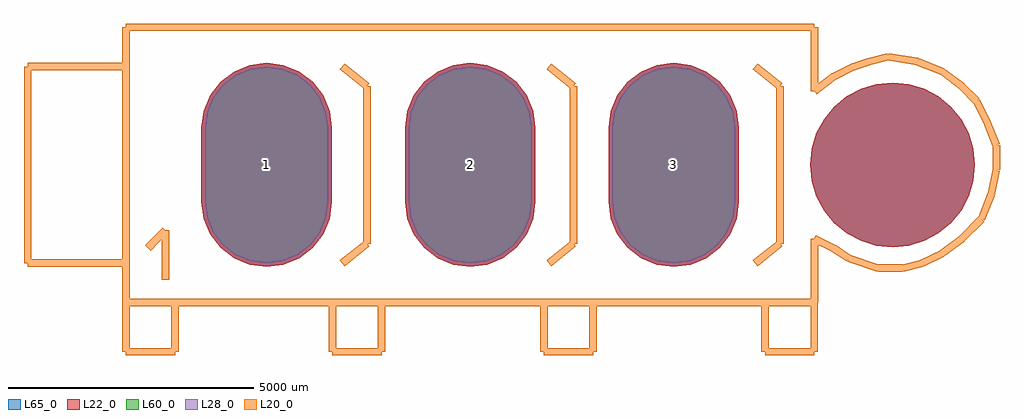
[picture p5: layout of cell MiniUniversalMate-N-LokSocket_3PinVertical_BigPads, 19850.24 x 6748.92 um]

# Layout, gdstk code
import gdstk
lib = gdstk.Library(unit=1e-6, precision=1e-09)
def P(c, l, *ps):  # polygons
    for p in ps: c.add(gdstk.Polygon(p, *l))
L20_0 = (20, 0)
L22_0 = (22, 0)
L28_0 = (28, 0)
L60_0 = (60, 0)
L65_0 = (65, 0)

miniuniversalmate_n_loks = lib.new_cell('MiniUniversalMate-N-LokSocket_3PinVertical_BigPads')
P(miniuniversalmate_n_loks, L22_0, [(4140.2,-2075.25),(4483.052,-2030.113),(4802.54,-1897.777),(5076.89,-1687.26),(5287.407,-1412.91),(5419.743,-1093.422),(5464.88,-750.57),(5464.88,750.57),(5419.743,1093.422),(5287.407,1412.91),(5076.89,1687.26),(4802.54,1897.777),(4483.052,2030.113),(4140.2,2075.25),(3797.348,2030.113),(3477.86,1897.777),(3203.51,1687.26),(2992.993,1412.91),(2860.657,1093.422),(2815.52,750.57),(2815.52,-750.57),(2860.657,-1093.422),(2992.993,-1412.91),(3203.51,-1687.26),(3477.86,-1897.777),(3797.348,-2030.113)],
  [(-4140.2,-2075.25),(-3797.348,-2030.113),(-3477.86,-1897.777),(-3203.51,-1687.26),(-2992.993,-1412.91),(-2860.657,-1093.422),(-2815.52,-750.57),(-2815.52,750.57),(-2860.657,1093.422),(-2992.993,1412.91),(-3203.51,1687.26),(-3477.86,1897.777),(-3797.348,2030.113),(-4140.2,2075.25),(-4483.052,2030.113),(-4802.54,1897.777),(-5076.89,1687.26),(-5287.407,1412.91),(-5419.743,1093.422),(-5464.88,750.57),(-5464.88,-750.57),(-5419.743,-1093.422),(-5287.407,-1412.91),(-5076.89,-1687.26),(-4802.54,-1897.777),(-4483.052,-2030.113)],
  [(10265.48,0),(10233.292,326.815),(10137.963,641.071),(9983.158,930.691),(9774.825,1184.545),(9520.971,1392.878),(9231.351,1547.683),(8917.095,1643.012),(8590.28,1675.2),(8263.465,1643.012),(7949.209,1547.683),(7659.589,1392.878),(7405.735,1184.545),(7197.402,930.691),(7042.597,641.071),(6947.268,326.815),(6915.08,0),(6947.268,-326.815),(7042.597,-641.071),(7197.402,-930.691),(7405.735,-1184.545),(7659.589,-1392.878),(7949.209,-1547.683),(8263.465,-1643.012),(8590.28,-1675.2),(8917.095,-1643.012),(9231.351,-1547.683),(9520.971,-1392.878),(9774.825,-1184.545),(9983.158,-930.691),(10137.963,-641.071),(10233.292,-326.815)],
  [(0,-2075.25),(342.852,-2030.113),(662.34,-1897.777),(936.69,-1687.26),(1147.207,-1412.91),(1279.543,-1093.422),(1324.68,-750.57),(1324.68,750.57),(1279.543,1093.422),(1147.207,1412.91),(936.69,1687.26),(662.34,1897.777),(342.852,2030.113),(0,2075.25),(-342.852,2030.113),(-662.34,1897.777),(-936.69,1687.26),(-1147.207,1412.91),(-1279.543,1093.422),(-1324.68,750.57),(-1324.68,-750.57),(-1279.543,-1093.422),(-1147.207,-1412.91),(-936.69,-1687.26),(-662.34,-1897.777),(-342.852,-2030.113)])
P(miniuniversalmate_n_loks, L28_0, [(4140.2,-2000.25),(4463.641,-1957.668),(4765.04,-1832.825),(5023.857,-1634.227),(5222.455,-1375.41),(5347.298,-1074.011),(5389.88,-750.57),(5389.88,750.57),(5347.298,1074.011),(5222.455,1375.41),(5023.857,1634.227),(4765.04,1832.825),(4463.641,1957.668),(4140.2,2000.25),(3816.759,1957.668),(3515.36,1832.825),(3256.543,1634.227),(3057.945,1375.41),(2933.102,1074.011),(2890.52,750.57),(2890.52,-750.57),(2933.102,-1074.011),(3057.945,-1375.41),(3256.543,-1634.227),(3515.36,-1832.825),(3816.759,-1957.668)],
  [(-4140.2,-2000.25),(-3816.759,-1957.668),(-3515.36,-1832.825),(-3256.543,-1634.227),(-3057.945,-1375.41),(-2933.102,-1074.011),(-2890.52,-750.57),(-2890.52,750.57),(-2933.102,1074.011),(-3057.945,1375.41),(-3256.543,1634.227),(-3515.36,1832.825),(-3816.759,1957.668),(-4140.2,2000.25),(-4463.641,1957.668),(-4765.04,1832.825),(-5023.857,1634.227),(-5222.455,1375.41),(-5347.298,1074.011),(-5389.88,750.57),(-5389.88,-750.57),(-5347.298,-1074.011),(-5222.455,-1375.41),(-5023.857,-1634.227),(-4765.04,-1832.825),(-4463.641,-1957.668)],
  [(0,-2000.25),(323.441,-1957.668),(624.84,-1832.825),(883.657,-1634.227),(1082.255,-1375.41),(1207.098,-1074.011),(1249.68,-750.57),(1249.68,750.57),(1207.098,1074.011),(1082.255,1375.41),(883.657,1634.227),(624.84,1832.825),(323.441,1957.668),(0,2000.25),(-323.441,1957.668),(-624.84,1832.825),(-883.657,1634.227),(-1082.255,1375.41),(-1207.098,1074.011),(-1249.68,750.57),(-1249.68,-750.57),(-1207.098,-1074.011),(-1082.255,-1375.41),(-883.657,-1634.227),(-624.84,-1832.825),(-323.441,-1957.668)])
P(miniuniversalmate_n_loks, L60_0, [(4140.2,-2000.25),(4463.641,-1957.668),(4765.04,-1832.825),(5023.857,-1634.227),(5222.455,-1375.41),(5347.298,-1074.011),(5389.88,-750.57),(5389.88,750.57),(5347.298,1074.011),(5222.455,1375.41),(5023.857,1634.227),(4765.04,1832.825),(4463.641,1957.668),(4140.2,2000.25),(3816.759,1957.668),(3515.36,1832.825),(3256.543,1634.227),(3057.945,1375.41),(2933.102,1074.011),(2890.52,750.57),(2890.52,-750.57),(2933.102,-1074.011),(3057.945,-1375.41),(3256.543,-1634.227),(3515.36,-1832.825),(3816.759,-1957.668)],
  [(-4140.2,-2000.25),(-3816.759,-1957.668),(-3515.36,-1832.825),(-3256.543,-1634.227),(-3057.945,-1375.41),(-2933.102,-1074.011),(-2890.52,-750.57),(-2890.52,750.57),(-2933.102,1074.011),(-3057.945,1375.41),(-3256.543,1634.227),(-3515.36,1832.825),(-3816.759,1957.668),(-4140.2,2000.25),(-4463.641,1957.668),(-4765.04,1832.825),(-5023.857,1634.227),(-5222.455,1375.41),(-5347.298,1074.011),(-5389.88,750.57),(-5389.88,-750.57),(-5347.298,-1074.011),(-5222.455,-1375.41),(-5023.857,-1634.227),(-4765.04,-1832.825),(-4463.641,-1957.668)],
  [(0,-2000.25),(323.441,-1957.668),(624.84,-1832.825),(883.657,-1634.227),(1082.255,-1375.41),(1207.098,-1074.011),(1249.68,-750.57),(1249.68,750.57),(1207.098,1074.011),(1082.255,1375.41),(883.657,1634.227),(624.84,1832.825),(323.441,1957.668),(0,2000.25),(-323.441,1957.668),(-624.84,1832.825),(-883.657,1634.227),(-1082.255,1375.41),(-1207.098,1074.011),(-1249.68,750.57),(-1249.68,-750.57),(-1207.098,-1074.011),(-1082.255,-1375.41),(-883.657,-1634.227),(-624.84,-1832.825),(-323.441,-1957.668)])
P(miniuniversalmate_n_loks, L65_0, [(4140.2,-2075.25),(4483.052,-2030.113),(4802.54,-1897.777),(5076.89,-1687.26),(5287.407,-1412.91),(5419.743,-1093.422),(5464.88,-750.57),(5464.88,750.57),(5419.743,1093.422),(5287.407,1412.91),(5076.89,1687.26),(4802.54,1897.777),(4483.052,2030.113),(4140.2,2075.25),(3797.348,2030.113),(3477.86,1897.777),(3203.51,1687.26),(2992.993,1412.91),(2860.657,1093.422),(2815.52,750.57),(2815.52,-750.57),(2860.657,-1093.422),(2992.993,-1412.91),(3203.51,-1687.26),(3477.86,-1897.777),(3797.348,-2030.113)],
  [(-4140.2,-2075.25),(-3797.348,-2030.113),(-3477.86,-1897.777),(-3203.51,-1687.26),(-2992.993,-1412.91),(-2860.657,-1093.422),(-2815.52,-750.57),(-2815.52,750.57),(-2860.657,1093.422),(-2992.993,1412.91),(-3203.51,1687.26),(-3477.86,1897.777),(-3797.348,2030.113),(-4140.2,2075.25),(-4483.052,2030.113),(-4802.54,1897.777),(-5076.89,1687.26),(-5287.407,1412.91),(-5419.743,1093.422),(-5464.88,750.57),(-5464.88,-750.57),(-5419.743,-1093.422),(-5287.407,-1412.91),(-5076.89,-1687.26),(-4802.54,-1897.777),(-4483.052,-2030.113)],
  [(10265.48,0),(10233.292,326.815),(10137.963,641.071),(9983.158,930.691),(9774.825,1184.545),(9520.971,1392.878),(9231.351,1547.683),(8917.095,1643.012),(8590.28,1675.2),(8263.465,1643.012),(7949.209,1547.683),(7659.589,1392.878),(7405.735,1184.545),(7197.402,930.691),(7042.597,641.071),(6947.268,326.815),(6915.08,0),(6947.268,-326.815),(7042.597,-641.071),(7197.402,-930.691),(7405.735,-1184.545),(7659.589,-1392.878),(7949.209,-1547.683),(8263.465,-1643.012),(8590.28,-1675.2),(8917.095,-1643.012),(9231.351,-1547.683),(9520.971,-1392.878),(9774.825,-1184.545),(9983.158,-930.691),(10137.963,-641.071),(10233.292,-326.815)],
  [(0,-2075.25),(342.852,-2030.113),(662.34,-1897.777),(936.69,-1687.26),(1147.207,-1412.91),(1279.543,-1093.422),(1324.68,-750.57),(1324.68,750.57),(1279.543,1093.422),(1147.207,1412.91),(936.69,1687.26),(662.34,1897.777),(342.852,2030.113),(0,2075.25),(-342.852,2030.113),(-662.34,1897.777),(-936.69,1687.26),(-1147.207,1412.91),(-1279.543,1093.422),(-1324.68,750.57),(-1324.68,-750.57),(-1279.543,-1093.422),(-1147.207,-1412.91),(-936.69,-1687.26),(-662.34,-1897.777),(-342.852,-2030.113)])
miniuniversalmate_n_loks.add(gdstk.FlexPath([(-7000.24,2799.08),(7000.24,2799.08)], 149.998, ends="flush", simple_path=True, layer=20, datatype=0))  # L20_0
miniuniversalmate_n_loks.add(gdstk.FlexPath([(-7000.24,-2799.08),(7000.24,-2799.08)], 149.998, ends="flush", simple_path=True, layer=20, datatype=0))  # L20_0
miniuniversalmate_n_loks.add(gdstk.FlexPath([(-7000.24,2799.08),(-7000.24,-2799.08)], 149.998, ends="flush", simple_path=True, layer=20, datatype=0))  # L20_0
miniuniversalmate_n_loks.add(gdstk.FlexPath([(7000.24,2799.08),(7000.24,1501.14)], 149.998, ends="flush", simple_path=True, layer=20, datatype=0))  # L20_0
miniuniversalmate_n_loks.add(gdstk.FlexPath([(7000.24,-2799.08),(7000.24,-1501.14)], 149.998, ends="flush", simple_path=True, layer=20, datatype=0))  # L20_0
miniuniversalmate_n_loks.add(gdstk.FlexPath([(7399.02,-1699.26),(7000.24,-1501.14)], 149.998, ends="flush", simple_path=True, layer=20, datatype=0))  # L20_0
miniuniversalmate_n_loks.add(gdstk.FlexPath([(7698.74,-1899.92),(7399.02,-1699.26)], 149.998, ends="flush", simple_path=True, layer=20, datatype=0))  # L20_0
miniuniversalmate_n_loks.add(gdstk.FlexPath([(8300.72,-2100.58),(7698.74,-1899.92)], 149.998, ends="flush", simple_path=True, layer=20, datatype=0))  # L20_0
miniuniversalmate_n_loks.add(gdstk.FlexPath([(8801.1,-2100.58),(8300.72,-2100.58)], 149.998, ends="flush", simple_path=True, layer=20, datatype=0))  # L20_0
miniuniversalmate_n_loks.add(gdstk.FlexPath([(9199.88,-1998.98),(8801.1,-2100.58)], 149.998, ends="flush", simple_path=True, layer=20, datatype=0))  # L20_0
miniuniversalmate_n_loks.add(gdstk.FlexPath([(9601.2,-1800.86),(9199.88,-1998.98)], 149.998, ends="flush", simple_path=True, layer=20, datatype=0))  # L20_0
miniuniversalmate_n_loks.add(gdstk.FlexPath([(9999.98,-1501.14),(9601.2,-1800.86)], 149.998, ends="flush", simple_path=True, layer=20, datatype=0))  # L20_0
miniuniversalmate_n_loks.add(gdstk.FlexPath([(10398.76,-1099.82),(9999.98,-1501.14)], 149.998, ends="flush", simple_path=True, layer=20, datatype=0))  # L20_0
miniuniversalmate_n_loks.add(gdstk.FlexPath([(10599.42,-599.44),(10398.76,-1099.82)], 149.998, ends="flush", simple_path=True, layer=20, datatype=0))  # L20_0
miniuniversalmate_n_loks.add(gdstk.FlexPath([(10701.02,-99.06),(10599.42,-599.44)], 149.998, ends="flush", simple_path=True, layer=20, datatype=0))  # L20_0
miniuniversalmate_n_loks.add(gdstk.FlexPath([(10701.02,398.78),(10701.02,-99.06)], 149.998, ends="flush", simple_path=True, layer=20, datatype=0))  # L20_0
miniuniversalmate_n_loks.add(gdstk.FlexPath([(10500.36,899.16),(10701.02,398.78)], 149.998, ends="flush", simple_path=True, layer=20, datatype=0))  # L20_0
miniuniversalmate_n_loks.add(gdstk.FlexPath([(10299.7,1300.48),(10500.36,899.16)], 149.998, ends="flush", simple_path=True, layer=20, datatype=0))  # L20_0
miniuniversalmate_n_loks.add(gdstk.FlexPath([(9999.98,1600.2),(10299.7,1300.48)], 149.998, ends="flush", simple_path=True, layer=20, datatype=0))  # L20_0
miniuniversalmate_n_loks.add(gdstk.FlexPath([(9601.2,1899.92),(9999.98,1600.2)], 149.998, ends="flush", simple_path=True, layer=20, datatype=0))  # L20_0
miniuniversalmate_n_loks.add(gdstk.FlexPath([(9100.82,2100.58),(9601.2,1899.92)], 149.998, ends="flush", simple_path=True, layer=20, datatype=0))  # L20_0
miniuniversalmate_n_loks.add(gdstk.FlexPath([(8498.84,2199.64),(9100.82,2100.58)], 149.998, ends="flush", simple_path=True, layer=20, datatype=0))  # L20_0
miniuniversalmate_n_loks.add(gdstk.FlexPath([(8100.06,2100.58),(8498.84,2199.64)], 149.998, ends="flush", simple_path=True, layer=20, datatype=0))  # L20_0
miniuniversalmate_n_loks.add(gdstk.FlexPath([(7800.34,1998.98),(8100.06,2100.58)], 149.998, ends="flush", simple_path=True, layer=20, datatype=0))  # L20_0
miniuniversalmate_n_loks.add(gdstk.FlexPath([(7399.02,1800.86),(7800.34,1998.98)], 149.998, ends="flush", simple_path=True, layer=20, datatype=0))  # L20_0
miniuniversalmate_n_loks.add(gdstk.FlexPath([(7000.24,1501.14),(7399.02,1800.86)], 149.998, ends="flush", simple_path=True, layer=20, datatype=0))  # L20_0
miniuniversalmate_n_loks.add(gdstk.FlexPath([(-8999.22,-1998.98),(-7000.24,-1998.98)], 149.998, ends="flush", simple_path=True, layer=20, datatype=0))  # L20_0
miniuniversalmate_n_loks.add(gdstk.FlexPath([(-8999.22,1998.98),(-8999.22,-1998.98)], 149.998, ends="flush", simple_path=True, layer=20, datatype=0))  # L20_0
miniuniversalmate_n_loks.add(gdstk.FlexPath([(-7000.24,1998.98),(-8999.22,1998.98)], 149.998, ends="flush", simple_path=True, layer=20, datatype=0))  # L20_0
miniuniversalmate_n_loks.add(gdstk.FlexPath([(-2100.58,1600.2),(-2100.58,-1600.2)], 149.998, ends="flush", simple_path=True, layer=20, datatype=0))  # L20_0
miniuniversalmate_n_loks.add(gdstk.FlexPath([(2100.58,1600.2),(2100.58,-1600.2)], 149.998, ends="flush", simple_path=True, layer=20, datatype=0))  # L20_0
miniuniversalmate_n_loks.add(gdstk.FlexPath([(-2100.58,1600.2),(-2600.96,1998.98)], 149.998, ends="flush", simple_path=True, layer=20, datatype=0))  # L20_0
miniuniversalmate_n_loks.add(gdstk.FlexPath([(-2100.58,-1600.2),(-2600.96,-1998.98)], 149.998, ends="flush", simple_path=True, layer=20, datatype=0))  # L20_0
miniuniversalmate_n_loks.add(gdstk.FlexPath([(2100.58,1600.2),(1600.2,1998.98)], 149.998, ends="flush", simple_path=True, layer=20, datatype=0))  # L20_0
miniuniversalmate_n_loks.add(gdstk.FlexPath([(2100.58,-1600.2),(1600.2,-1998.98)], 149.998, ends="flush", simple_path=True, layer=20, datatype=0))  # L20_0
miniuniversalmate_n_loks.add(gdstk.FlexPath([(6299.2,-1600.2),(5798.82,-1998.98)], 149.998, ends="flush", simple_path=True, layer=20, datatype=0))  # L20_0
miniuniversalmate_n_loks.add(gdstk.FlexPath([(6299.2,1600.2),(6299.2,-1600.2)], 149.998, ends="flush", simple_path=True, layer=20, datatype=0))  # L20_0
miniuniversalmate_n_loks.add(gdstk.FlexPath([(6299.2,1600.2),(5798.82,1998.98)], 149.998, ends="flush", simple_path=True, layer=20, datatype=0))  # L20_0
miniuniversalmate_n_loks.add(gdstk.FlexPath([(-7000.24,-3799.84),(-7000.24,-2801.62)], 149.998, ends="flush", simple_path=True, layer=20, datatype=0))  # L20_0
miniuniversalmate_n_loks.add(gdstk.FlexPath([(-5999.48,-3799.84),(-7000.24,-3799.84)], 149.998, ends="flush", simple_path=True, layer=20, datatype=0))  # L20_0
miniuniversalmate_n_loks.add(gdstk.FlexPath([(-5999.48,-2801.62),(-5999.48,-3799.84)], 149.998, ends="flush", simple_path=True, layer=20, datatype=0))  # L20_0
miniuniversalmate_n_loks.add(gdstk.FlexPath([(-7000.24,-2801.62),(-5999.48,-2801.62)], 149.998, ends="flush", simple_path=True, layer=20, datatype=0))  # L20_0
miniuniversalmate_n_loks.add(gdstk.FlexPath([(-2801.62,-2801.62),(-1800.86,-2801.62)], 149.998, ends="flush", simple_path=True, layer=20, datatype=0))  # L20_0
miniuniversalmate_n_loks.add(gdstk.FlexPath([(-1800.86,-2801.62),(-1800.86,-3799.84)], 149.998, ends="flush", simple_path=True, layer=20, datatype=0))  # L20_0
miniuniversalmate_n_loks.add(gdstk.FlexPath([(-1800.86,-3799.84),(-2801.62,-3799.84)], 149.998, ends="flush", simple_path=True, layer=20, datatype=0))  # L20_0
miniuniversalmate_n_loks.add(gdstk.FlexPath([(-2801.62,-3799.84),(-2801.62,-2801.62)], 149.998, ends="flush", simple_path=True, layer=20, datatype=0))  # L20_0
miniuniversalmate_n_loks.add(gdstk.FlexPath([(1498.6,-3799.84),(1498.6,-2801.62)], 149.998, ends="flush", simple_path=True, layer=20, datatype=0))  # L20_0
miniuniversalmate_n_loks.add(gdstk.FlexPath([(2499.36,-3799.84),(1498.6,-3799.84)], 149.998, ends="flush", simple_path=True, layer=20, datatype=0))  # L20_0
miniuniversalmate_n_loks.add(gdstk.FlexPath([(2499.36,-2801.62),(2499.36,-3799.84)], 149.998, ends="flush", simple_path=True, layer=20, datatype=0))  # L20_0
miniuniversalmate_n_loks.add(gdstk.FlexPath([(1498.6,-2801.62),(2499.36,-2801.62)], 149.998, ends="flush", simple_path=True, layer=20, datatype=0))  # L20_0
miniuniversalmate_n_loks.add(gdstk.FlexPath([(5996.94,-2801.62),(6997.7,-2801.62)], 149.998, ends="flush", simple_path=True, layer=20, datatype=0))  # L20_0
miniuniversalmate_n_loks.add(gdstk.FlexPath([(6997.7,-2801.62),(6997.7,-3799.84)], 149.998, ends="flush", simple_path=True, layer=20, datatype=0))  # L20_0
miniuniversalmate_n_loks.add(gdstk.FlexPath([(6997.7,-3799.84),(5996.94,-3799.84)], 149.998, ends="flush", simple_path=True, layer=20, datatype=0))  # L20_0
miniuniversalmate_n_loks.add(gdstk.FlexPath([(5996.94,-3799.84),(5996.94,-2801.62)], 149.998, ends="flush", simple_path=True, layer=20, datatype=0))  # L20_0
miniuniversalmate_n_loks.add(gdstk.FlexPath([(-6200.14,-1330.96),(-6200.14,-2339.34)], 149.998, ends="flush", simple_path=True, layer=20, datatype=0))  # L20_0
miniuniversalmate_n_loks.add(gdstk.FlexPath([(-6550.66,-1689.1),(-6200.14,-1330.96)], 149.998, ends="flush", simple_path=True, layer=20, datatype=0))  # L20_0
miniuniversalmate_n_loks.add(gdstk.Label('3', (4140.2,0), layer=28, texttype=0))
miniuniversalmate_n_loks.add(gdstk.Label('1', (-4140.2,0), layer=28, texttype=0))
miniuniversalmate_n_loks.add(gdstk.Label('2', (0,0), layer=28, texttype=0))
miniuniversalmate_n_loks.add(gdstk.Label('type', (-701.04,-5621.02), layer=9, texttype=0))
miniuniversalmate_n_loks.add(gdstk.Label('devicename', (71.12,5430.52), layer=9, texttype=0))

lib.write_gds('MiniUniversalMate-N-LokSocket_3PinVertical_BigPads.gds')
